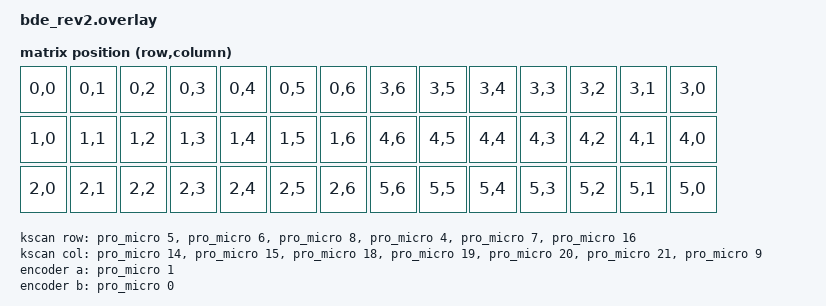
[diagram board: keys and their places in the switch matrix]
/*
 * Copyright (c) 2022 The ZMK Contributors
 *
 * SPDX-License-Identifier: MIT
 */

#include <physical_layouts.dtsi>
#include <dt-bindings/zmk/matrix_transform.h>

/ {
    chosen {
        zephyr,display = &oled;
        zmk,kscan = &kscan;
        zmk,physical-layout = &default_layout;
    };

    kscan: kscan {
        compatible = "zmk,kscan-gpio-matrix";
        diode-direction = "col2row";
        wakeup-source;

        col-gpios
            = <&pro_micro 14 GPIO_ACTIVE_HIGH>
            , <&pro_micro 15 GPIO_ACTIVE_HIGH>
            , <&pro_micro 18 GPIO_ACTIVE_HIGH>
            , <&pro_micro 19 GPIO_ACTIVE_HIGH>
            , <&pro_micro 20 GPIO_ACTIVE_HIGH>
            , <&pro_micro 21 GPIO_ACTIVE_HIGH>
            , <&pro_micro  9 GPIO_ACTIVE_HIGH>
            ;

        row-gpios
            = <&pro_micro  5 (GPIO_ACTIVE_HIGH | GPIO_PULL_DOWN)>
            , <&pro_micro  6 (GPIO_ACTIVE_HIGH | GPIO_PULL_DOWN)>
            , <&pro_micro  8 (GPIO_ACTIVE_HIGH | GPIO_PULL_DOWN)>
            , <&pro_micro  4 (GPIO_ACTIVE_HIGH | GPIO_PULL_DOWN)>
            , <&pro_micro  7 (GPIO_ACTIVE_HIGH | GPIO_PULL_DOWN)>
            , <&pro_micro 16 (GPIO_ACTIVE_HIGH | GPIO_PULL_DOWN)>
            ;
    };

    default_transform: keymap_transform_0 {
        compatible = "zmk,matrix-transform";
        columns = <7>;
        rows = <6>;
        map = <
RC(0,0)  RC(0,1)  RC(0,2)  RC(0,3)  RC(0,4)  RC(0,5)  RC(0,6)  RC(3,6)  RC(3,5)  RC(3,4)  RC(3,3)  RC(3,2)  RC(3,1)  RC(3,0)
RC(1,0)  RC(1,1)  RC(1,2)  RC(1,3)  RC(1,4)  RC(1,5)  RC(1,6)  RC(4,6)  RC(4,5)  RC(4,4)  RC(4,3)  RC(4,2)  RC(4,1)  RC(4,0)
RC(2,0)  RC(2,1)  RC(2,2)  RC(2,3)  RC(2,4)  RC(2,5)  RC(2,6)  RC(5,6)  RC(5,5)  RC(5,4)  RC(5,3)  RC(5,2)  RC(5,1)  RC(5,0)
        >;
    };

    default_layout: keymap_layout_0 {
        display-name = "Default";
        compatible = "zmk,physical-layout";

        transform = <&default_transform>;
        keys  //                     w   h    x    y     rot   rx   ry
            = <&key_physical_attrs 100 100    0    0       0    0    0>
            , <&key_physical_attrs 100 100  100    0       0    0    0>
            , <&key_physical_attrs 100 100  200    0       0    0    0>
            , <&key_physical_attrs 100 100  300    0       0    0    0>
            , <&key_physical_attrs 100 100  400    0       0    0    0>
            , <&key_physical_attrs 100 100  500    0       0    0    0>
            , <&key_physical_attrs 100 100  600    0       0    0    0>
            , <&key_physical_attrs 100 100  700    0       0    0    0>
            , <&key_physical_attrs 100 100  800    0       0    0    0>
            , <&key_physical_attrs 100 100  900    0       0    0    0>
            , <&key_physical_attrs 100 100 1000    0       0    0    0>
            , <&key_physical_attrs 100 100 1100    0       0    0    0>
            , <&key_physical_attrs 100 100 1200    0       0    0    0>
            , <&key_physical_attrs 100 100 1300    0       0    0    0>
            , <&key_physical_attrs 100 100    0  100       0    0    0>
            , <&key_physical_attrs 100 100  100  100       0    0    0>
            , <&key_physical_attrs 100 100  200  100       0    0    0>
            , <&key_physical_attrs 100 100  300  100       0    0    0>
            , <&key_physical_attrs 100 100  400  100       0    0    0>
            , <&key_physical_attrs 100 100  500  100       0    0    0>
            , <&key_physical_attrs 100 100  600  100       0    0    0>
            , <&key_physical_attrs 100 100  700  100       0    0    0>
            , <&key_physical_attrs 100 100  800  100       0    0    0>
            , <&key_physical_attrs 100 100  900  100       0    0    0>
            , <&key_physical_attrs 100 100 1000  100       0    0    0>
            , <&key_physical_attrs 100 100 1100  100       0    0    0>
            , <&key_physical_attrs 100 100 1200  100       0    0    0>
            , <&key_physical_attrs 100 100 1300  100       0    0    0>
            , <&key_physical_attrs 100 100    0  200       0    0    0>
            , <&key_physical_attrs 100 100  100  200       0    0    0>
            , <&key_physical_attrs 100 100  200  200       0    0    0>
            , <&key_physical_attrs 100 100  300  200       0    0    0>
            , <&key_physical_attrs 100 100  400  200       0    0    0>
            , <&key_physical_attrs 100 100  500  200       0    0    0>
            , <&key_physical_attrs 100 100  600  200       0    0    0>
            , <&key_physical_attrs 100 100  700  200       0    0    0>
            , <&key_physical_attrs 100 100  800  200       0    0    0>
            , <&key_physical_attrs 100 100  900  200       0    0    0>
            , <&key_physical_attrs 100 100 1000  200       0    0    0>
            , <&key_physical_attrs 100 100 1100  200       0    0    0>
            , <&key_physical_attrs 100 100 1200  200       0    0    0>
            , <&key_physical_attrs 100 100 1300  200       0    0    0>
            ;
    };

    encoder: encoder {
        compatible = "alps,ec11";
        a-gpios = <&pro_micro 1 (GPIO_ACTIVE_HIGH | GPIO_PULL_UP)>;
        b-gpios = <&pro_micro 0 (GPIO_ACTIVE_HIGH | GPIO_PULL_UP)>;
        steps = <80>;
        status = "disabled";
    };

    sensors: sensors {
        compatible = "zmk,keymap-sensors";
        sensors = <&encoder>;
        triggers-per-rotation = <20>;
    };
};

&pro_micro_i2c {
    status = "okay";

    oled: ssd1306@3c {
        compatible = "solomon,ssd1306fb";
        reg = <0x3c>;
        width = <128>;
        height = <32>;
        segment-offset = <0>;
        page-offset = <0>;
        display-offset = <0>;
        multiplex-ratio = <31>;
        segment-remap;
        com-invdir;
        com-sequential;
        inversion-on;
        prechargep = <0x22>;
    };
};
